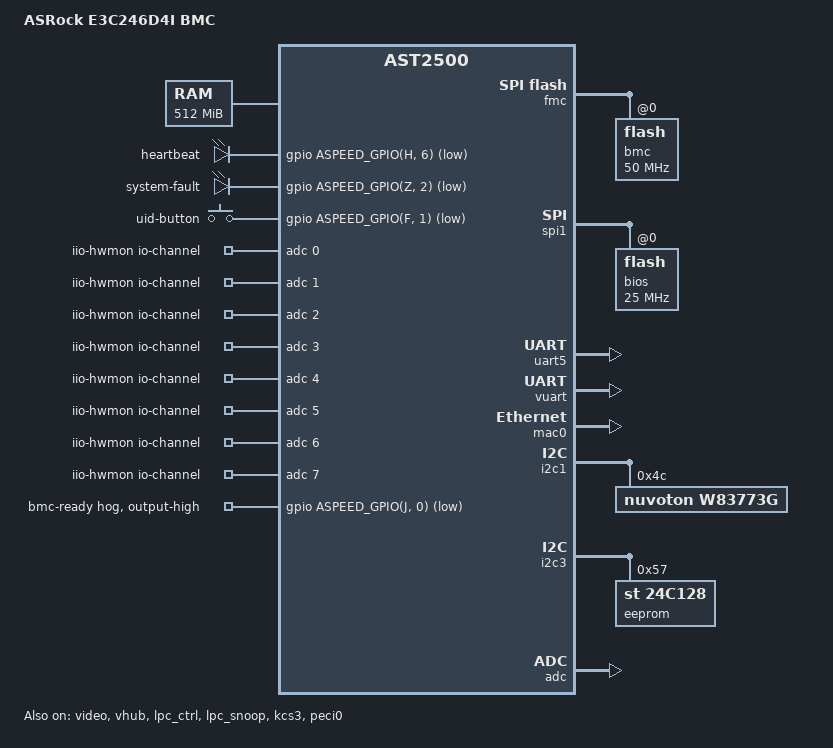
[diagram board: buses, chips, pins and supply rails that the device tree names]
// SPDX-License-Identifier: GPL-2.0+
/dts-v1/;

#include "aspeed-g5.dtsi"
#include <dt-bindings/gpio/aspeed-gpio.h>
#include <dt-bindings/i2c/i2c.h>
#include <dt-bindings/interrupt-controller/irq.h>

/{
	model = "ASRock E3C246D4I BMC";
	compatible = "asrock,e3c246d4i-bmc", "aspeed,ast2500";

	aliases {
		serial4 = &uart5;
	};

	chosen {
		stdout-path = &uart5;
		bootargs = "console=tty0 console=ttyS4,115200 earlycon";
	};

	memory@80000000 {
		reg = <0x80000000 0x20000000>;
	};

	leds {
		compatible = "gpio-leds";

		heartbeat {
			/* BMC_HB_LED_N */
			gpios = <&gpio ASPEED_GPIO(H, 6) GPIO_ACTIVE_LOW>;
			linux,default-trigger = "timer";
		};

		system-fault {
			/* SYSTEM_FAULT_LED_N */
			gpios = <&gpio ASPEED_GPIO(Z, 2) GPIO_ACTIVE_LOW>;
			panic-indicator;
		};
	};

	gpio-keys {
		compatible = "gpio-keys";

		uid-button {
			label = "uid-button";
			gpios = <&gpio ASPEED_GPIO(F, 1) GPIO_ACTIVE_LOW>;
			linux,code = <ASPEED_GPIO(F, 1)>;
		};
	};

	iio-hwmon {
		compatible = "iio-hwmon";
		io-channels = <&adc 0>, <&adc 1>, <&adc 2>, <&adc 3>, <&adc 4>,
			<&adc 5>, <&adc 6>, <&adc 7>, <&adc 8>, <&adc 9>,
			<&adc 10>, <&adc 11>, <&adc 12>;
	};
};

&fmc {
	status = "okay";
	flash@0 {
		status = "okay";
		m25p,fast-read;
		label = "bmc";
		spi-max-frequency = <50000000>; /* 50 MHz */
#include "openbmc-flash-layout.dtsi"
	};
};

&spi1 {
	status = "okay";
	pinctrl-names = "default";
	pinctrl-0 = <&pinctrl_spi1_default>;
	flash@0 {
		status = "okay";
		label = "bios";
		m25p,fast-read;
		spi-max-frequency = <25000000>; /* 25 MHz */
	};
};

&uart5 {
	status = "okay";
};

&vuart {
	status = "okay";
	aspeed,lpc-io-reg = <0x2f8>;
	aspeed,lpc-interrupts = <3 IRQ_TYPE_LEVEL_HIGH>;
};

&mac0 {
	status = "okay";

	pinctrl-names = "default";
	pinctrl-0 = <&pinctrl_rgmii1_default &pinctrl_mdio1_default>;

	nvmem-cells = <&eth0_macaddress>;
	nvmem-cell-names = "mac-address";
};

&i2c1 {
	status = "okay";

	/* thermal sensor, one diode run to a disconnected header */
	w83773g@4c {
		compatible = "nuvoton,w83773g";
		reg = <0x4c>;
	};
};

&i2c3 {
	status = "okay";

	/* FRU EEPROM */
	eeprom@57 {
		compatible = "st,24c128", "atmel,24c128";
		reg = <0x57>;
		pagesize = <16>;
		#address-cells = <1>;
		#size-cells = <1>;

		eth0_macaddress: macaddress@3f80 {
			reg = <0x3f80 6>;
		};
	};
};

&video {
	status = "okay";
};

&vhub {
	status = "okay";
};

&lpc_ctrl {
	status = "okay";
};

&lpc_snoop {
	status = "okay";
	snoop-ports = <0x80>;
};

&gpio {
	status = "okay";
	gpio-line-names =
		/*  A */ "BMC_MAC1_INTB", "BMC_MAC2_INTB", "NMI_BTN_N", "BMC_NMI",
			"", "", "", "",
		/*  B */ "", "", "", "", "", "IRQ_BMC_PCH_SMI_LPC_N", "", "",
		/*  C */ "", "", "", "", "", "", "", "",
		/*  D */ "BMC_PSIN", "BMC_PSOUT", "BMC_RESETCON", "RESETCON",
			"", "", "", "",
		/*  E */ "", "", "", "", "", "", "", "",
		/*  F */ "LOCATORLED_STATUS_N", "LOCATORBTN", "", "",
			"", "", "BMC_PCH_SCI_LPC", "BMC_NCSI_MUX_CTL",
		/*  G */ "HWM_BAT_EN", "CHASSIS_ID0", "CHASSIS_ID1", "CHASSIS_ID2",
			"BMC_ALERT1_N_R", "BMC_ALERT2_N_R", "BMC_ALERT3_N", "SML0ALERT",
		/*  H */ "FM_ME_RCVR_N", "O_PWROK", "SKL_CNL_R", "D4_DIMM_EVENT_3V_N",
			"MFG_MODE_N", "BMC_RTCRST", "BMC_HB_LED_N", "BMC_CASEOPEN",
		/*  I */ "", "", "", "", "", "", "", "",
		/*  J */ "BMC_READY", "BMC_PCH_BIOS_CS_N", "BMC_SMI", "",
			"", "", "", "",
		/*  K */ "", "", "", "", "", "", "", "",
		/*  L */ "BMC_CTS1", "BMC_DCD1", "BMC_DSR1", "BMC_RI1",
			"BMC_DTR1", "BMC_RTS1", "BMC_TXD1", "BMC_RXD1",
		/*  M */ "BMC_LAN0_DIS_N", "BMC_LAN1_DIS_N", "", "",
			"", "", "", "",
		/*  N */ "", "", "", "", "", "", "", "",
		/*  O */ "", "", "", "", "", "", "", "",
		/*  P */ "", "", "", "", "", "", "", "",
		/*  Q */ "", "", "", "",
			"BMC_SBM_PRESENT_1_N", "BMC_SBM_PRESENT_2_N",
			"BMC_SBM_PRESENT_3_N", "BMC_PCIE_WAKE_N",
		/*  R */ "", "", "", "", "", "", "", "",
		/*  S */ "PCHHOT_BMC_N", "", "RSMRST",
			"", "", "", "", "",
		/*  T */ "", "", "", "", "", "", "", "",
		/*  U */ "", "", "", "", "", "", "", "",
		/*  V */ "", "", "", "", "", "", "", "",
		/*  W */ "PS_PWROK", /* dummy always-high signal */
			"", "", "", "", "", "", "",
		/*  X */ "", "", "", "", "", "", "", "",
		/*  Y */ "SLP_S3", "SLP_S5", "", "", "", "", "", "",
		/*  Z */ "CPU_CATERR_BMC_PCH_N", "", "SYSTEM_FAULT_LED_N", "BMC_THROTTLE_N",
			"", "", "", "",
		/* AA */ "CPU1_THERMTRIP_LATCH_N", "", "CPU1_PROCHOT_N", "",
			"", "", "IRQ_SMI_ACTIVE_N", "FM_BIOS_POST_CMPLT_N",
		/* AB */ "", "", "ME_OVERRIDE", "BMC_DMI_MODIFY",
			"", "", "", "",
		/* AC */ "LAD0", "LAD1", "LAD2", "LAD3",
			"CK_33M_BMC", "LFRAME", "SERIRQ", "S_PLTRST";

	/* Assert BMC_READY so BIOS doesn't sit around waiting for it */
	bmc-ready {
		gpio-hog;
		gpios = <ASPEED_GPIO(J, 0) GPIO_ACTIVE_LOW>;
		output-high;
	};
};

&adc {
	status = "okay";
	pinctrl-names = "default";
	pinctrl-0 = <&pinctrl_adc0_default
			&pinctrl_adc1_default
			&pinctrl_adc2_default
			&pinctrl_adc3_default
			&pinctrl_adc4_default
			&pinctrl_adc5_default
			&pinctrl_adc6_default
			&pinctrl_adc7_default
			&pinctrl_adc8_default
			&pinctrl_adc9_default
			&pinctrl_adc10_default
			&pinctrl_adc11_default
			&pinctrl_adc12_default>;
};

&kcs3 {
	status = "okay";
	aspeed,lpc-io-reg = <0xca2>;
};

&peci0 {
	status = "okay";
};
